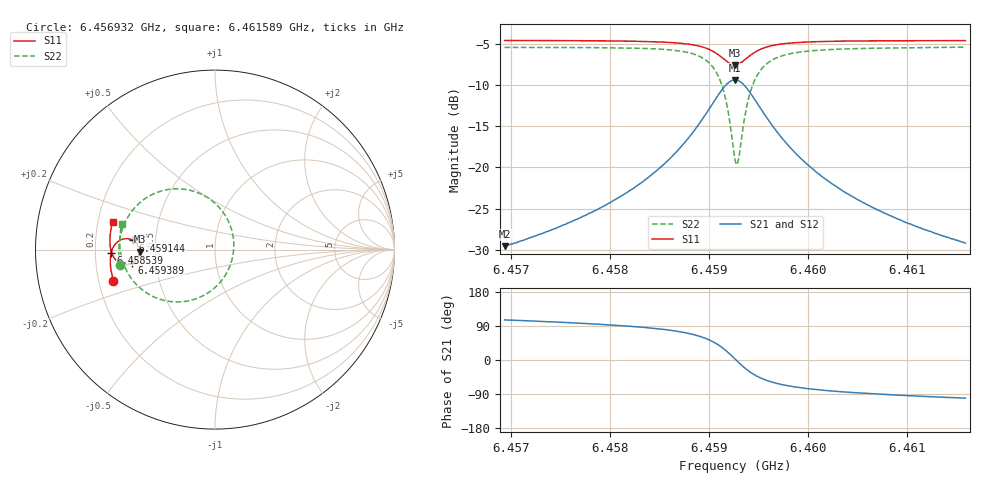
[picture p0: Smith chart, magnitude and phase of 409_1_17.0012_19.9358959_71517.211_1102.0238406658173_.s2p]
#  HZ  S  RI  R  50.00
! Rohde & Schwarz Vector Network Analyzer
! Rohde-Schwarz,ZNB20-2Port,1311601062101988,3.16
! Created: UTC 3/20/2024, 11:10:22 PM
! freq[Hz]  re:S11  im:S11  re:S21  im:S21  re:S12  im:S12  re:S22  im:S22
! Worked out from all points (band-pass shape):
!   401 points, 6.456932 GHz to 6.461589 GHz, reference 50 ohm
!   highest |S21| = -9.35 dB at 6.459261 GHz (marker M1); lowest = -29.6 dB at 6.456932 GHz (marker M2)
!   |S21| within 3 dB of the highest: 6.459028 GHz to 6.459494 GHz (466 kHz wide, 0.00721 % of centre)
!   lowest |S11| = -7.5 dB at 6.459261 GHz (marker M3), VSWR 2.45, Z = 20.4 - j0.546 ohm
!   |S11| at or under -10 dB: nowhere
!   |S22| runs from -19.6 to -5.4 dB; largest |S21 - S12| = 0.013
!   S11 on the Smith chart (normalised r, x): 6.456932 GHz: 0.26, -0.14; 6.458539 GHz: 0.27, -0.01; 6.459144 GHz: 0.37, +0.05; 6.459389 GHz: 0.37, -0.07; 6.461589 GHz: 0.26, +0.12
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6.4569322e9  -0.5655 -0.1756  -0.00901 0.032  -0.00736 0.0319  -0.5298 -0.0885
6.4577122e9  -0.5801 -0.1077  -0.00593 0.0496  -0.00336 0.0489  -0.5361 0.00146
6.4581546e9  -0.5834 -0.0636  0.000177 0.0696  0.00333 0.0682  -0.5282 0.0711
6.4584923e9  -0.5798 -0.0235  0.0134 0.0974  0.0173 0.0948  -0.5041 0.1463
6.4585388e9  -0.5785 -0.0172  0.0169 0.1027  0.0208 0.0999  -0.498 0.1594
6.4587484e9  -0.5665 0.0146  0.0424 0.1341  0.0466 0.1295  -0.45 0.2304
6.4588997e9  -0.5455 0.0409  0.0845 0.1643  0.0879 0.1578  -0.3727 0.2944
6.4590511e9  -0.5 0.0607  0.1752 0.1832  0.1762 0.1761  -0.2071 0.3388
6.4591442e9  -0.4558 0.0509  0.2639 0.1531  0.2643 0.147  -0.0425 0.2904
6.4591908e9  -0.4349 0.0324  0.3073 0.1109  0.3085 0.1057  0.0398 0.2156
6.4592606e9  -0.4202 -0.011  0.3405 0.0155  0.3442 0.00855  0.1046 0.0386
6.4592839e9  -0.4219 -0.0268  0.3387 -0.0193  0.3424 -0.0277  0.1008 -0.0272
6.4592956e9  -0.4241 -0.0344  0.3351 -0.0364  0.3388 -0.0454  0.094 -0.0594
6.4593421e9  -0.4394 -0.0602  0.3072 -0.0957  0.3093 -0.1073  0.0377 -0.1712
6.4593887e9  -0.4611 -0.0762  0.2658 -0.1365  0.265 -0.1493  -0.0457 -0.2455
6.4594818e9  -0.5039 -0.0828  0.1823 -0.1675  0.1761 -0.1788  -0.212 -0.2917
6.4596332e9  -0.5472 -0.0624  0.0955 -0.1542  0.087 -0.1603  -0.3774 -0.2436
6.4597962e9  -0.5685 -0.0348  0.051 -0.1268  0.0435 -0.1295  -0.4571 -0.1728
6.4600407e9  -0.5811 0.000688  0.0222 -0.0957  0.0165 -0.0964  -0.5048 -0.0913
6.4603783e9  -0.5855 0.0406  0.00658 -0.07  0.00261 -0.0696  -0.5259 -0.015
6.4608207e9  -0.5836 0.085  -0.00143 -0.0512  -0.0042 -0.0503  -0.5303 0.0551
6.4615891e9  -0.571 0.1528  -0.00646 -0.034  -0.00817 -0.0332  -0.519 0.145
